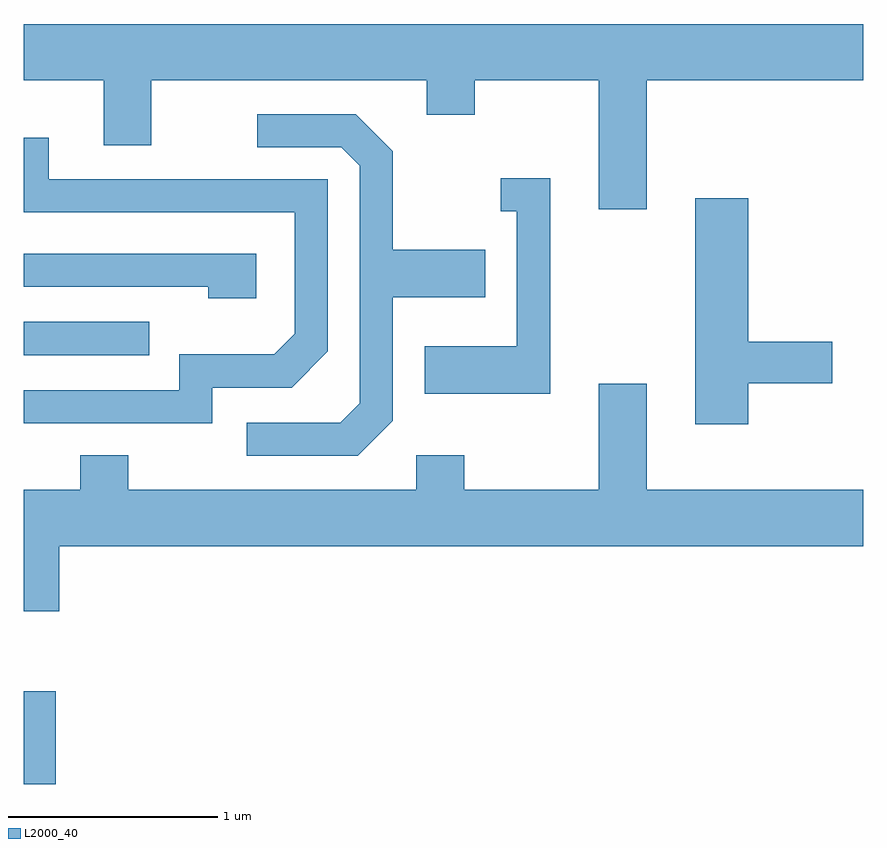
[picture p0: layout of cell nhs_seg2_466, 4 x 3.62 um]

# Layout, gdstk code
import gdstk
lib = gdstk.Library(unit=1e-6, precision=1e-09)
def R(c, l, rs):  # rectangles x0, y0, x1, y1
    for r in rs: c.add(gdstk.rectangle(r[:2], r[2:], *l))
def P(c, l, *ps):  # polygons
    for p in ps: c.add(gdstk.Polygon(p, *l))
L2000_40 = (2000, 40)

nhs_seg2_466 = lib.new_cell('nhs_seg2_466')
R(nhs_seg2_466, L2000_40, [(197.611,1093.802,197.764,1094.244), (197.611,1095.846,198.208,1096.004)])
P(nhs_seg2_466, L2000_40, [(200.579,1097.156),(201.611,1097.156),(201.611,1097.424),(197.611,1097.424),(197.611,1097.156),(197.991,1097.156),(197.991,1096.846),(198.219,1096.846),(198.219,1097.156),(199.531,1097.156),(199.531,1096.991),(199.759,1096.991),(199.759,1097.156),(200.351,1097.156),(200.351,1096.541),(200.579,1096.541)],
  [(199.369,1095.534),(199.369,1096.121),(199.809,1096.121),(199.809,1096.349),(199.369,1096.349),(199.369,1096.817),(199.192,1096.994),(198.723,1096.994),(198.723,1096.836),(199.124,1096.836),(199.211,1096.749),(199.211,1095.617),(199.119,1095.524),(198.673,1095.524),(198.673,1095.366),(199.202,1095.366)],
  [(198.509,1095.691),(198.887,1095.691),(199.059,1095.864),(199.059,1096.684),(197.729,1096.684),(197.729,1096.883),(197.611,1096.883),(197.611,1096.526),(198.901,1096.526),(198.901,1095.947),(198.804,1095.849),(198.351,1095.849),(198.351,1095.679),(197.611,1095.679),(197.611,1095.521),(198.509,1095.521)],
  [(200.119,1096.689),(199.883,1096.689),(199.883,1096.531),(199.961,1096.531),(199.961,1095.889),(199.521,1095.889),(199.521,1095.661),(200.119,1095.661)],
  [(201.064,1095.711),(201.464,1095.711),(201.464,1095.909),(201.064,1095.909),(201.064,1096.594),(200.811,1096.594),(200.811,1095.516),(201.064,1095.516)],
  [(198.719,1096.329),(197.611,1096.329),(197.611,1096.171),(198.491,1096.171),(198.491,1096.116),(198.719,1096.116)],
  [(197.779,1094.936),(201.611,1094.936),(201.611,1095.204),(200.579,1095.204),(200.579,1095.709),(200.351,1095.709),(200.351,1095.204),(199.709,1095.204),(199.709,1095.369),(199.481,1095.369),(199.481,1095.204),(198.109,1095.204),(198.109,1095.369),(197.881,1095.369),(197.881,1095.204),(197.611,1095.204),(197.611,1094.626),(197.779,1094.626)])

lib.write_gds('nhs_seg2_466.gds')
